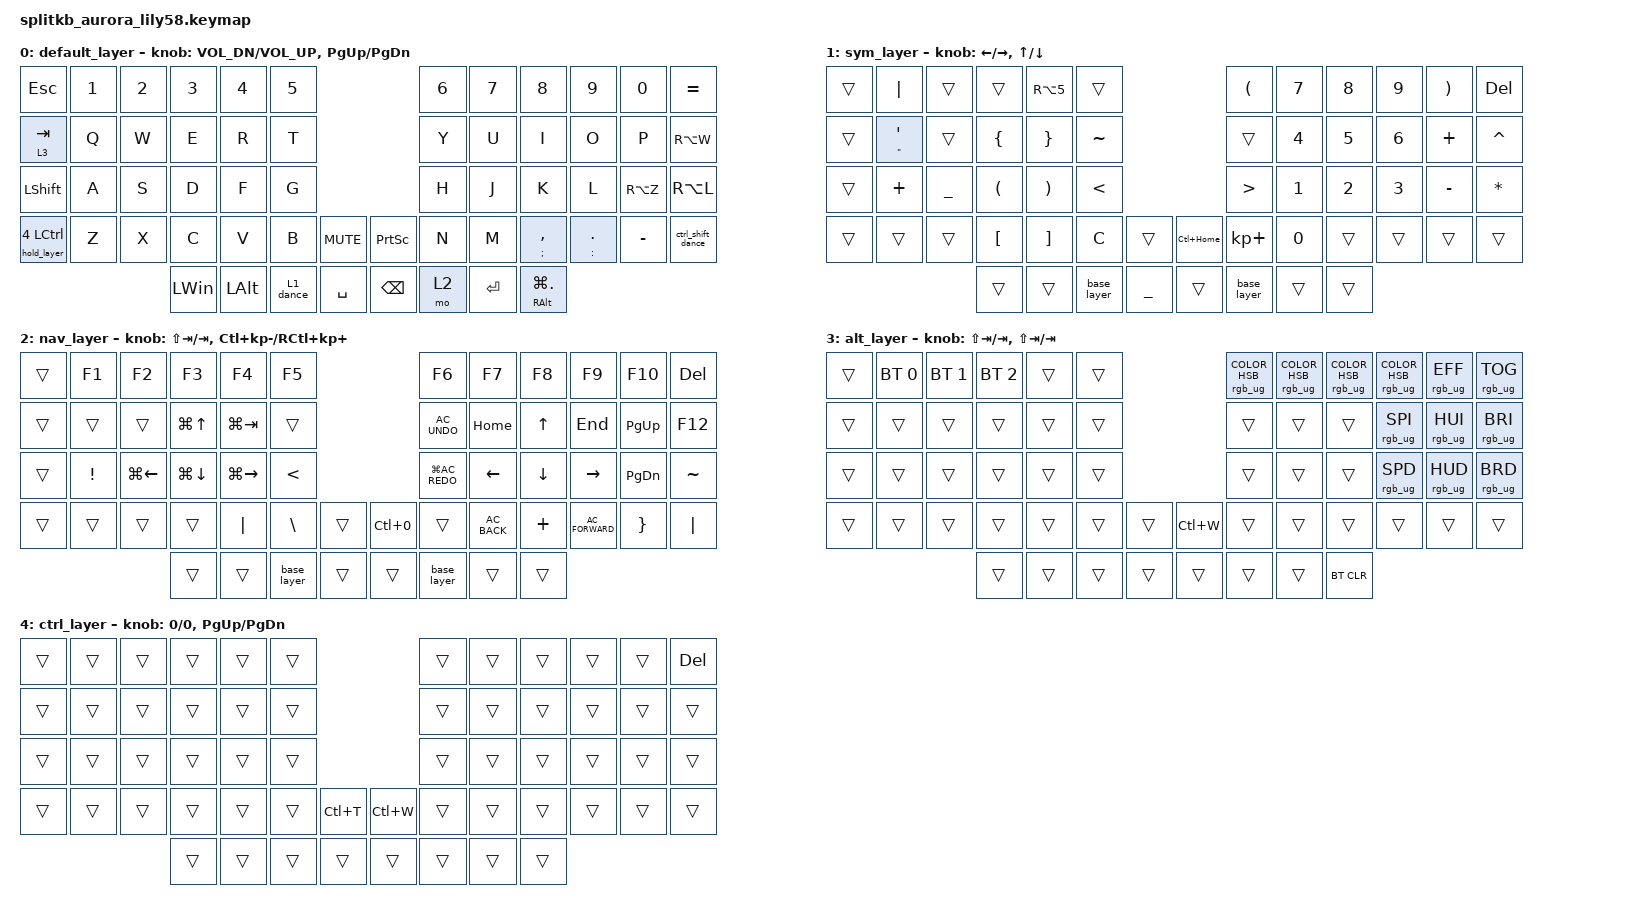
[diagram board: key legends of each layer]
/*
 * Copyright (c) 2022 The ZMK Contributors
 *
 * SPDX-License-Identifier: MIT
 */

#include <behaviors.dtsi>
#include <dt-bindings/zmk/bt.h>
#include <dt-bindings/zmk/keys.h>
#include <dt-bindings/zmk/rgb.h>

#define DK_AA LBKT
#define DK_AE SEMI
#define DK_OE SQT

// Shifted characters

#define DK_SEMI LS(COMMA) // ;
#define DK_COLON LS(DOT) // :
#define DK_PLUS MINUS // +
#define DK_MINUS FSLH // -
#define DK_EQ LS(N0) // =
#define DK_QUES UNDER // _
#define DK_LESS GRAVE // <
#define DK_MORE LS(GRAVE) // >
#define DK_PIPE RA(I) // |
#define DK_QUOTE AT // "
#define DK_AT RA(BSLH) // @
#define DK_BSLH RA(RS(N7)) //
#define DK_SLH AMPERSAND // ERROR
#define DK_AMPS CARET // ampersand
#define DK_DLLR NUBS
#define DK_UNDER LS(FSLH)
#define DK_TILDE LA(RBKT)
#define DK_HAT RBRC
#define DK_UMLAUT LG(RBKT)
#define DK_TICK BSLH //
#define DK_LPRN LS(N8)	// (
#define DK_RPRN LS(N9)	// )
#define DK_LCBR RA(RS(N8))  // {
#define DK_RCBR RA(RS(N9))	// }
#define DK_LBRC RA(N8)	// [
#define DK_RBRC RA(N9)	// ]
#define CMD_SPC RG(SPACE)
#define UE RA(U)

&led_strip { chain-length = <29>; };

&left_encoder {
    compatible = "alps,ec11";
    steps = <90>;
};

&right_encoder {
    compatible = "alps,ec11";
    steps = <90>;
};

&sensors {
    compatible = "zmk,keymap-sensors";
    sensors = <&left_encoder &right_encoder>;
    triggers-per-rotation = <24>;
};

/ {
    behaviors {
        rgb_brightness: rgb_brightness {
            compatible = "zmk,behavior-sensor-rotate-var";
            label = "RGB_BRIGHTNESS";
            #sensor-binding-cells = <2>;
            bindings = <&none>, <&none>;
        };

        change_win: change_win {
            compatible = "zmk,behavior-sensor-rotate";
            label = "CHANGE_WIN";
            #sensor-binding-cells = <0>;
            bindings = <&prev_win>, <&next_win>;
        };

        L1_dance: L1_dance {
            compatible = "zmk,behavior-tap-dance";
            label = "L1_DANCE";
            #binding-cells = <0>;
            bindings = <&mo 1>, <&RGB_layer 1 RGB_COLOR_HSB_VAL(222,94,48)>;
        };

        L2_dance: L2_dance {
            compatible = "zmk,behavior-tap-dance";
            label = "L2_DANCE";
            #binding-cells = <0>;
            bindings = <&mo 2>, <&RGB_layer 2 RGB_COLOR_HSB_VAL(312,94,48)>;
        };

        shift_dance: shift_dance {
            compatible = "zmk,behavior-tap-dance";
            label = "SHIFT_DANCE";
            #binding-cells = <0>;
            bindings = <&kp LEFT_SHIFT>, <&caps_word>;
        };

        ctrl_shift_dance: ctrl_shift_dance {
            compatible = "zmk,behavior-tap-dance";
            label = "CTRL_SHIFT_DANCE";
            #binding-cells = <0>;
            bindings = <&kp SLASH>, <&kp LC(LEFT_SHIFT)>;
        };
    };

    macros {
        next_win: next_win {
            compatible = "zmk,behavior-macro";
            #binding-cells = <0>;
            bindings =
                <&macro_press>,
                <&kp LEFT_ALT>,
                <&macro_tap>,
                <&kp TAB>,
                <&macro_release>,
                <&kp LEFT_ALT>;

            label = "NEXT_WIN";
            wait-ms = <1000>;
        };

        prev_win: prev_win {
            compatible = "zmk,behavior-macro";
            #binding-cells = <0>;
            bindings =
                <&macro_press>,
                <&kp LEFT_ALT>,
                <&macro_tap>,
                <&kp LS(TAB)>,
                <&macro_release>,
                <&kp LEFT_ALT>;

            label = "PREV_WIN";
            wait-ms = <1000>;
        };

        /**
         * Temporarily switches to a layer (`&mo`) while a modifier is held.
         * Analogous to QMK's `LM()`, using a parameterized macro.
         *
         * Params:
         *  1. Layer to switch to
         *  2. Modifier to press while layer is active
         *
         * Example:
         *  `&lm NUM_LAYER LSHIFT`
         */

        hold_layer: lm {
            compatible = "zmk,behavior-macro-two-param";
            wait-ms = <0>;
            tap-ms = <0>;
            #binding-cells = <2>;
            bindings =
                <&macro_param_1to1>,
                <&macro_press>,
                <&mo MACRO_PLACEHOLDER &macro_param_2to1>,
                <&macro_press>,
                <&kp MACRO_PLACEHOLDER>,
                <&macro_pause_for_release>,
                <&macro_param_2to1>,
                <&macro_release>,
                <&kp MACRO_PLACEHOLDER &macro_param_1to1>,
                <&macro_release>,
                <&mo MACRO_PLACEHOLDER>;
        };

        RGB_layer: RGB_layer {
            compatible = "zmk,behavior-macro-two-param";
            wait-ms = <0>;
            tap-ms = <0>;
            #binding-cells = <2>;
            bindings =
                <&rgb_ug RGB_ON &macro_param_1to1 &to MACRO_PLACEHOLDER>,
                <&macro_wait_time 100>,
                <&macro_param_2to2 &rgb_ug RGB_COLOR_HSB_CMD MACRO_PLACEHOLDER>;

            label = "RGB_LAYER";
        };

        base_layer: base_layer {
            compatible = "zmk,behavior-macro";
            wait-ms = <0>;
            tap-ms = <0>;
            #binding-cells = <0>;
            bindings = <&rgb_ug RGB_OFF &to 0>;
            label = "BASE_LAYER";
        };
    };

    keymap {
        compatible = "zmk,keymap";

        default_layer {
            bindings = <
&kp ESC              &kp N1  &kp N2  &kp N3        &kp N4        &kp N5                                    &kp N6  &kp N7     &kp N8                    &kp N9            &kp N0     &kp EQUAL
&lt 3 TAB            &kp Q   &kp W   &kp E         &kp R         &kp T                                     &kp Y   &kp U      &kp I                     &kp O             &kp P      &kp RA(W)
&kp LEFT_SHIFT       &kp A   &kp S   &kp D         &kp F         &kp G                                     &kp H   &kp J      &kp K                     &kp L             &kp RA(Z)  &kp RA(L)
&hold_layer 4 LCTRL  &kp Z   &kp X   &kp C         &kp V         &kp B      &kp C_MUTE    &kp PRINTSCREEN  &kp N   &kp M      &mt SEMI COMMA            &mt COLON PERIOD  &kp MINUS  &ctrl_shift_dance
                                     &kp LEFT_WIN  &kp LEFT_ALT  &L1_dance  &kp SPACE     &kp BACKSPACE    &mo 2   &kp ENTER  &mt RIGHT_ALT LG(PERIOD)
            >;

            sensor-bindings =
                <&inc_dec_kp C_VOL_DN C_VOLUME_UP>,
                <&inc_dec_kp PAGE_UP PAGE_DOWN>;
        };

        sym_layer {
            bindings = <
&trans  &kp PIPE                        &trans     &trans                &kp RA(NUMBER_5)       &trans                                         &kp LEFT_PARENTHESIS  &kp N7        &kp N8  &kp N9  &kp RIGHT_PARENTHESIS  &kp DELETE
&trans  &mt DOUBLE_QUOTES SINGLE_QUOTE  &trans     &kp LEFT_BRACE        &kp RIGHT_BRACE        &kp TILDE                                      &trans                &kp NUMBER_4  &kp N5  &kp N6  &kp PLUS               &kp CARET
&trans  &kp PLUS                        &kp UNDER  &kp LEFT_PARENTHESIS  &kp RIGHT_PARENTHESIS  &kp LESS_THAN                                  &kp GREATER_THAN      &kp N1        &kp N2  &kp N3  &kp MINUS              &kp STAR
&trans  &trans                          &trans     &kp LBKT              &kp RBKT               &kp C          &trans            &kp LC(HOME)  &kp KP_PLUS           &kp N0        &trans  &trans  &trans                 &trans
                                                   &trans                &trans                 &base_layer    &kp UNDERSCORE    &trans        &base_layer           &trans        &trans
            >;

            sensor-bindings =
                <&inc_dec_kp LEFT_ARROW RIGHT_ARROW>,
                <&inc_dec_kp UP_ARROW DOWN_ARROW>;
        };

        nav_layer {
            bindings = <
&trans  &kp F1    &kp F2        &kp F3        &kp F4         &kp F5                               &kp F6             &kp F7         &kp F8          &kp F9            &kp F10    &kp DELETE
&trans  &trans    &trans        &kp LG(UP)    &kp LG(TAB)    &trans                               &kp C_AC_UNDO      &kp HOME       &kp UP_ARROW    &kp END           &kp PG_UP  &kp F12
&trans  &kp EXCL  &kp LG(LEFT)  &kp LG(DOWN)  &kp LG(RIGHT)  &kp LESS_THAN                        &kp LG(C_AC_REDO)  &kp LEFT       &kp DOWN_ARROW  &kp RIGHT         &kp PG_DN  &kp TILDE
&trans  &trans    &trans        &trans        &kp PIPE       &kp BACKSLASH  &trans    &kp LC(N0)  &trans             &kp C_AC_BACK  &kp PLUS        &kp C_AC_FORWARD  &kp RBRC   &kp PIPE
                                &trans        &trans         &base_layer    &trans    &trans      &base_layer        &trans         &trans
            >;

            sensor-bindings =
                <&inc_dec_kp LS(TAB) TAB>,
                <&inc_dec_kp LC(KP_MINUS) RC(KP_PLUS)>;
        };

        alt_layer {
            bindings = <
&trans  &bt BT_SEL 0  &bt BT_SEL 1  &bt BT_SEL 2  &trans  &trans                       &rgb_ug RGB_COLOR_HSB(0,0,22)  &rgb_ug RGB_COLOR_HSB(235,70,12)  &rgb_ug RGB_COLOR_HSB(289,70,13)  &rgb_ug RGB_COLOR_HSB(164,73,13)  &rgb_ug RGB_EFF  &rgb_ug RGB_TOG
&trans  &trans        &trans        &trans        &trans  &trans                       &trans                         &trans                            &trans                            &rgb_ug RGB_SPI                   &rgb_ug RGB_HUI  &rgb_ug RGB_BRI
&trans  &trans        &trans        &trans        &trans  &trans                       &trans                         &trans                            &trans                            &rgb_ug RGB_SPD                   &rgb_ug RGB_HUD  &rgb_ug RGB_BRD
&trans  &trans        &trans        &trans        &trans  &trans  &trans    &kp LC(W)  &trans                         &trans                            &trans                            &trans                            &trans           &trans
                                    &trans        &trans  &trans  &trans    &trans     &trans                         &trans                            &bt BT_CLR
            >;

            sensor-bindings =
                <&inc_dec_kp LS(TAB) TAB>,
                <&inc_dec_kp LS(TAB) TAB>;
        };

        ctrl_layer {
            bindings = <
&trans  &trans  &trans  &trans  &trans  &trans                          &trans  &trans  &trans  &trans  &trans  &kp DELETE
&trans  &trans  &trans  &trans  &trans  &trans                          &trans  &trans  &trans  &trans  &trans  &trans
&trans  &trans  &trans  &trans  &trans  &trans                          &trans  &trans  &trans  &trans  &trans  &trans
&trans  &trans  &trans  &trans  &trans  &trans  &kp LC(T)    &kp LC(W)  &trans  &trans  &trans  &trans  &trans  &trans
                        &trans  &trans  &trans  &trans       &trans     &trans  &trans  &trans
            >;

            sensor-bindings =
                <&inc_dec_kp 0 0>,
                <&inc_dec_kp PAGE_UP PAGE_DOWN>;
        };
    };
};
